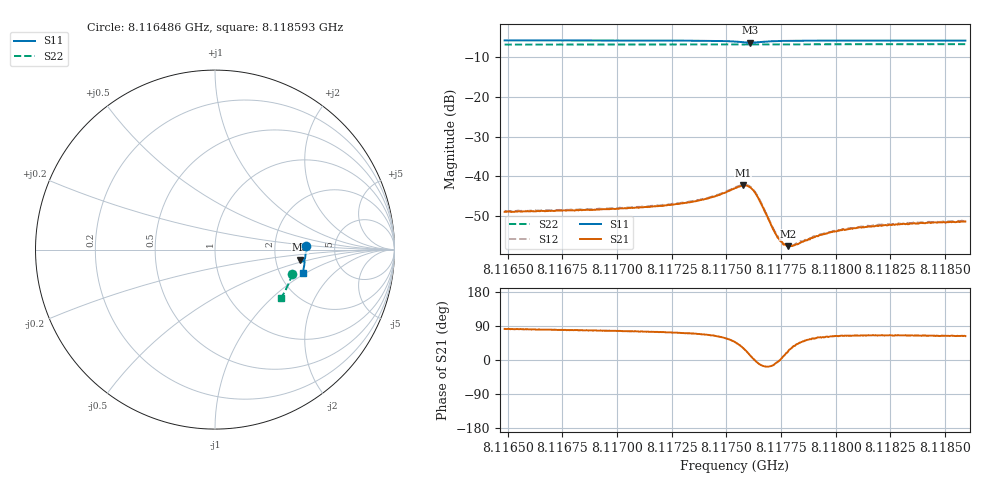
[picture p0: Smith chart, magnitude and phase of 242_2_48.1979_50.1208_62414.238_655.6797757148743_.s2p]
#  HZ  S  RI  R  50.00
! Rohde & Schwarz Vector Network Analyzer
! Rohde-Schwarz,ZNB20-2Port,1311601062101988,3.16
! Created: UTC 3/20/2024, 11:46:54 AM
! freq[Hz]  re:S11  im:S11  re:S21  im:S21  re:S12  im:S12  re:S22  im:S22
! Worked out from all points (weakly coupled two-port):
!   401 points, 8.116486 GHz to 8.118593 GHz, reference 50 ohm
!   highest |S21| = -42.27 dB at 8.117576 GHz (marker M1); lowest = -57.5 dB at 8.117782 GHz (marker M2)
!   lowest |S11| = -6.4 dB at 8.117608 GHz (marker M3), VSWR 2.82, Z = 138 - j20.1 ohm
!   |S11| at or under -10 dB: nowhere
!   |S22| runs from -6.9 to -6.8 dB; largest |S21 - S12| = 0.0002
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8.1164863e9  0.5063 0.0221  0.000502 0.00355  0.00058 0.00364  0.429 -0.1349
8.1168391e9  0.5063 -0.0049  0.000739 0.00369  0.000819 0.00376  0.4218 -0.1584
8.1171919e9  0.5043 -0.033  0.0012 0.00408  0.00124 0.00412  0.4135 -0.1815
8.1173867e9  0.5007 -0.0508  0.00192 0.00471  0.00199 0.00477  0.4084 -0.1942
8.1174552e9  0.4974 -0.0579  0.00259 0.00509  0.00267 0.00517  0.4062 -0.1985
8.1175394e9  0.4868 -0.0664  0.00483 0.0052  0.00496 0.00528  0.4032 -0.2039
8.1175763e9  0.4777 -0.0649  0.00654 0.00406  0.00668 0.00405  0.402 -0.206
8.1175921e9  0.4744 -0.0615  0.00705 0.00298  0.0072 0.00297  0.4013 -0.2066
8.1176079e9  0.473 -0.0565  0.00713 0.00162  0.00729 0.00159  0.4009 -0.2073
8.1176237e9  0.4743 -0.0513  0.00665 0.000356  0.00677 0.000286  0.4005 -0.2082
8.1176448e9  0.4793 -0.0469  0.00537 -0.000798  0.00546 -0.000877  0.4003 -0.2093
8.1177132e9  0.4936 -0.0509  0.00212 -0.00053  0.00217 -0.000507  0.3988 -0.2137
8.1177343e9  0.4957 -0.0541  0.0017 -0.000146  0.00177 -0.000149  0.3982 -0.2152
8.1177606e9  0.497 -0.0575  0.00138 0.000242  0.00139 0.000181  0.3975 -0.2168
8.1177817e9  0.4978 -0.0601  0.00123 0.0005  0.00127 0.000534  0.3969 -0.2184
8.1178133e9  0.4984 -0.0639  0.00109 0.000833  0.00111 0.000862  0.3961 -0.2204
8.1178922e9  0.4988 -0.072  0.000918 0.00141  0.00097 0.00141  0.3937 -0.2254
8.1179344e9  0.4986 -0.0761  0.000943 0.00159  0.000949 0.00163  0.3922 -0.2281
8.1180239e9  0.4976 -0.084  0.000925 0.00189  0.000967 0.00188  0.3892 -0.2336
8.1181029e9  0.4967 -0.0902  0.000985 0.00206  0.00101 0.00207  0.3864 -0.2386
8.118245e9  0.4945 -0.1017  0.00103 0.00226  0.00107 0.00227  0.3815 -0.2472
8.1185926e9  0.4885 -0.1276  0.00123 0.00242  0.00124 0.0025  0.3685 -0.2679
